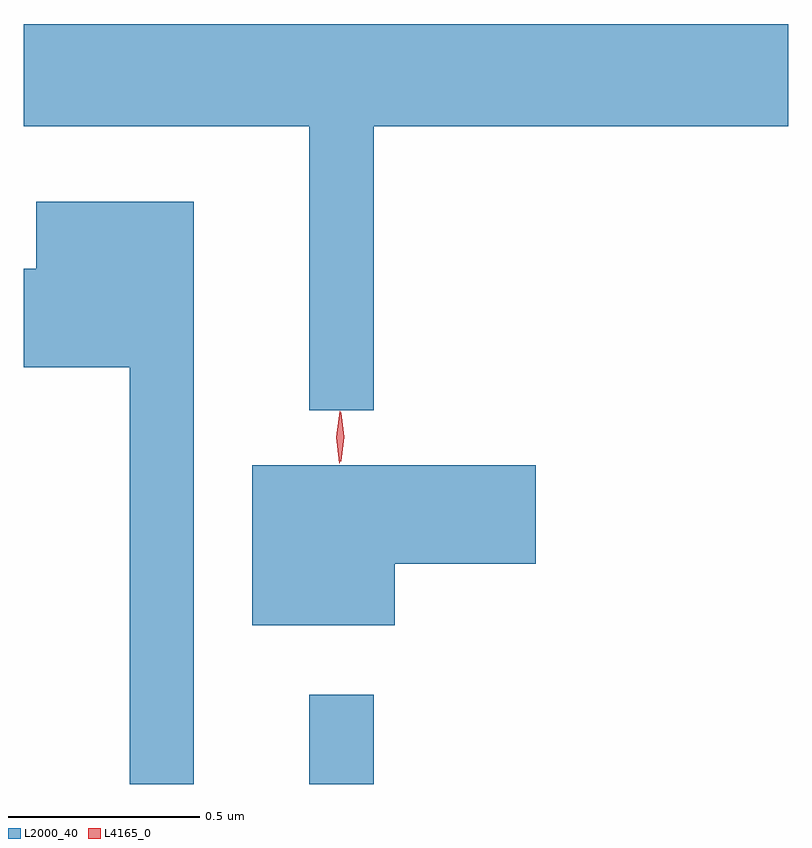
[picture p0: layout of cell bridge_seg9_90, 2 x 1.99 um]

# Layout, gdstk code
import gdstk
lib = gdstk.Library(unit=1e-6, precision=1e-09)
def R(c, l, rs):  # rectangles x0, y0, x1, y1
    for r in rs: c.add(gdstk.rectangle(r[:2], r[2:], *l))
def P(c, l, *ps):  # polygons
    for p in ps: c.add(gdstk.Polygon(p, *l))
L2000_40 = (2000, 40)
L4165_0 = (4165, 0)

bridge_seg9_90 = lib.new_cell('bridge_seg9_90')
R(bridge_seg9_90, L2000_40, [(1791.101,1996.755,1791.269,1996.988)])
P(bridge_seg9_90, L2000_40, [(1791.269,1998.476),(1792.354,1998.476),(1792.354,1998.744),(1790.354,1998.744),(1790.354,1998.476),(1791.101,1998.476),(1791.101,1997.733),(1791.269,1997.733)],
  [(1790.799,1998.279),(1790.386,1998.279),(1790.386,1998.104),(1790.354,1998.104),(1790.354,1997.846),(1790.631,1997.846),(1790.631,1996.755),(1790.799,1996.755)],
  [(1791.324,1997.331),(1791.694,1997.331),(1791.694,1997.589),(1790.951,1997.589),(1790.951,1997.171),(1791.324,1997.171)])
P(bridge_seg9_90, L4165_0, [(1791.179,1997.594),(1791.171,1997.662),(1791.181,1997.73),(1791.182,1997.73),(1791.182,1997.73),(1791.191,1997.662),(1791.18,1997.594),(1791.18,1997.594)],
  [(1791.183,1997.6),(1791.174,1997.664),(1791.183,1997.726),(1791.184,1997.727),(1791.184,1997.726),(1791.193,1997.664),(1791.184,1997.6),(1791.184,1997.6)])

lib.write_gds('bridge_seg9_90.gds')
